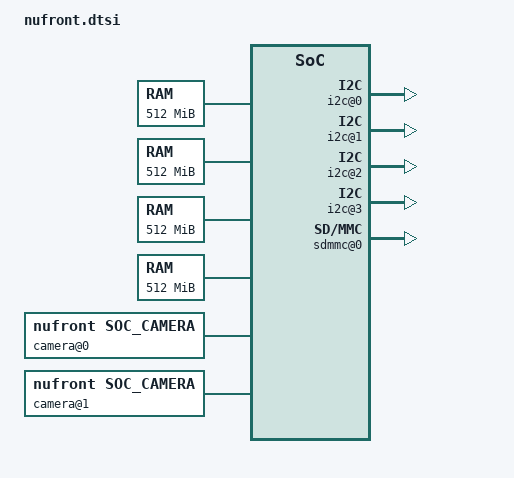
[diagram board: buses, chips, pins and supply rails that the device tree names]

/ {
	#address-cells = <1>;
	#size-cells = <1>;
	interrupt-parent = <&intc>;
	aliases { };
	intc: interrupt-controller{
		compatible = "nufront,ns115-gic";
		interrupt-controller;
		#interrupt-cells = <1>;
		reg = <0x05041000 0x1000 >;
	};
	memory@0 {
		device_type = "memory";
		#address-cells = <1>;
		#size-cells = <1>;
		reg = <0x80000000 0x20000000>;
	};
	memory@1 {
		device_type = "memory";
		#address-cells = <1>;
		#size-cells = <1>;
		reg = <0xA0000000 0x20000000>;
	};
	memory@2 {
		device_type = "memory";
		#address-cells = <1>;
		#size-cells = <1>;
		reg = <0xC0000000 0x20000000>;
	};
	memory@3 {
		device_type = "memory";
		#address-cells = <1>;
		#size-cells = <1>;
		reg = <0xE000000 0x20000000>;
	};
	i2c@0 {
		#address-cells = <1>;
		#size-cells = <0>;
		compatible = "nufront,designware-i2c";
		reg = <0x06100000 0x10000>;
		interrupts = < 91 >;
		type = "i2c";
		id = <0>;
	};

	i2c@1 {
		#address-cells = <1>;
		#size-cells = <0>;
		compatible = "nufront,designware-i2c";
		reg = <0x06110000 0x10000>;
		interrupts = < 92 >;
		type = "i2c";
		id = <1>;
	};

	i2c@2 {
		#address-cells = <1>;
		#size-cells = <0>;
		compatible = "nufront,designware-i2c";
		reg = <0x06120000 0x10000>;
		interrupts = < 93 >;
		type = "i2c";
		id = <2>;
	};

	i2c@3 {
		#address-cells = <1>;
		#size-cells = <0>;
		compatible = "nufront,designware-i2c";
		reg = <0x06130000 0x10000>;
		interrupts = < 94 >;
		type = "i2c";
		id = <3>;
	};

	sdmmc@0 {
		#address-cells 	= <1>;
		#size-cells 	= <0>;
		compatible 	= "nufront,ns115-sdmmc";
		reg 		= <0x05070000 0x10000>;
		interrupts 	= < 96 >;
		ref_clk 	= <100000000>;
		nr_slots 	= <3>;
		gpio		= <57>;
		detect_delay_ms = <2000>;

		slot@0{
			ctype          = <1>;//SD_CARD,
			caps           = <1>;//MMC_CAP_4_BIT_DATA
			freq           = <25000000>;
			ocr_avail      = <0xff8000>;     //2.6V-3.7V
			force_rescan   = <0>;
		};
		slot@1{
			ctype          = <4>;//EMMC_CARD,
			caps           = <0x142>;//MMC_CAP_NONREMOVABLE|MMC_CAP_8_BIT_DATA
			freq           = <25000000>;
			ocr_avail      = <0xff8000>;     //2.6V-3.7V
			force_rescan   = <1>;
		};
		slot@2{
			ctype          = <8>;//SDIO_CARD,
			caps           = <0x101>;//MMC_CAP_NONREMOVABLE|MMC_CAP_4_BIT_DATA
			pm_caps        = <0x5>;//MMC_PM_KEEP_POWER|MMC_PM_IGNORE_PM_NOTIFY
			freq           = <25000000>;
			ocr_avail      = <0xff8000>;     //2.6V-3.7V
			force_rescan   = <1>;
		};

	};
	camera@0{
		compatible	= "nufront,soc_camera";
	};
	camera@1{
		compatible	= "nufront,soc_camera";
	};
};
